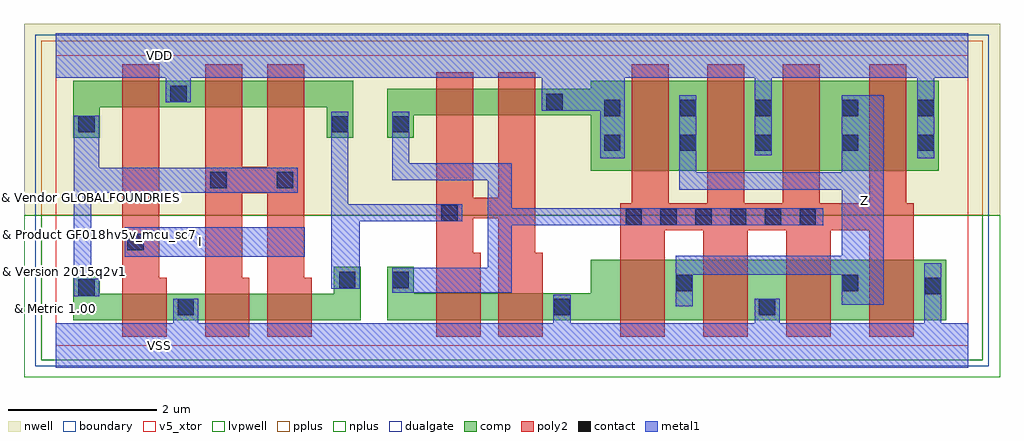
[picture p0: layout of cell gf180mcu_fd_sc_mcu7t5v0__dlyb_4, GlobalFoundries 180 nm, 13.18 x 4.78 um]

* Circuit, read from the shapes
.subckt gf180mcu_fd_sc_mcu7t5v0__dlyb_4 I VDD VSS Z
XM1 VSS I n1 VSUBS nfet_05v0 w=0.36u l=0.6u
XM2 n2 n1 VSS VSUBS nfet_05v0 w=0.36u l=0.6u
XM3 n3 n1 n2 VSUBS nfet_05v0 w=0.36u l=0.6u
XM4 n4 n3 n5 VSUBS nfet_05v0 w=0.365u l=0.6u
XM5 VSS n3 n4 VSUBS nfet_05v0 w=0.365u l=0.6u
XM6 Z n5 VSS VSUBS nfet_05v0 w=0.82u l=0.6u m=4
XM7 VDD I n1 n6 pfet_05v0 w=0.36u l=0.5u
XM8 n7 n1 VDD n6 pfet_05v0 w=0.36u l=0.5u
XM9 n3 n1 n7 n6 pfet_05v0 w=0.36u l=0.5u
XM10 n8 n3 n5 n6 pfet_05v0 w=0.36u l=0.5u
XM11 VDD n3 n8 n6 pfet_05v0 w=0.36u l=0.5u
XM12 Z n5 VDD n6 pfet_05v0 w=1.22u l=0.5u m=4
.ends

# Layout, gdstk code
import gdstk
lib = gdstk.Library(unit=1e-6, precision=1e-09)
def R(c, l, rs):  # rectangles x0, y0, x1, y1
    for r in rs: c.add(gdstk.rectangle(r[:2], r[2:], *l))
def A(c, l, x, y, w, h, nx, ny, dx, dy):  # array of equal rectangles
    R(c, l, [(x+i*dx, y+j*dy, x+i*dx+w, y+j*dy+h) for i in range(nx) for j in range(ny)])
def P(c, l, *ps):  # polygons
    for p in ps: c.add(gdstk.Polygon(p, *l))
boundary = (0, 0)
nwell = (21, 0)
comp = (22, 0)
poly2 = (30, 0)
pplus = (31, 0)
nplus = (32, 0)
contact = (33, 0)
metal1 = (34, 0)
dualgate = (55, 0)
v5_xtor = (112, 1)
lvpwell = (204, 0)

gf180mcu_fd_sc_mcu7t5v0_ = lib.new_cell('gf180mcu_fd_sc_mcu7t5v0__dlyb_4')
R(gf180mcu_fd_sc_mcu7t5v0_, boundary, [(0,0,12.32,3.92)])
R(gf180mcu_fd_sc_mcu7t5v0_, nwell, [(-0.43,1.76,12.75,4.35)])
P(gf180mcu_fd_sc_mcu7t5v0_, comp, [(0.235,2.81),(0.235,3.58),(4.015,3.58),(4.015,2.81),(3.655,2.81),(3.655,3.22),(0.595,3.22),(0.595,2.81)],
  [(0.235,0.34),(0.235,0.965),(0.595,0.965),(0.595,0.7),(3.755,0.7),(3.755,1.065),(4.115,1.065),(4.115,0.34)],
  [(7.225,2.36),(7.225,3.11),(4.835,3.11),(4.835,2.81),(4.475,2.81),(4.475,3.47),(7.225,3.47),(7.225,3.58),(11.925,3.58),(11.925,2.36)],
  [(4.475,0.34),(4.475,1.065),(4.835,1.065),(4.835,0.705),(7.225,0.705),(7.225,1.16),(12.025,1.16),(12.025,0.34)])
P(gf180mcu_fd_sc_mcu7t5v0_, poly2, [(0.895,0.12),(0.895,3.8),(1.395,3.8),(1.395,0.92),(1.495,0.92),(1.495,0.12)],
  [(2.015,0.12),(2.015,3.8),(2.515,3.8),(2.515,2.415),(2.855,2.415),(2.855,3.8),(3.355,3.8),(3.355,0.92),(3.455,0.92),(3.455,0.12),(2.855,0.12),(2.855,2.055),(2.515,2.055),(2.515,0.92),(2.615,0.92),(2.615,0.12)],
  [(5.135,0.12),(5.135,3.69),(5.635,3.69),(5.635,1.995),(5.975,1.995),(5.975,3.69),(6.475,3.69),(6.475,1.255),(6.575,1.255),(6.575,0.12),(5.975,0.12),(5.975,1.72),(5.635,1.72),(5.635,1.255),(5.735,1.255),(5.735,0.12)],
  [(7.625,0.12),(7.625,1.92),(7.775,1.92),(7.775,3.8),(8.275,3.8),(8.275,1.92),(8.795,1.92),(8.795,3.8),(9.295,3.8),(9.295,1.92),(9.815,1.92),(9.815,3.8),(10.315,3.8),(10.315,1.92),(10.985,1.92),(10.985,3.8),(11.485,3.8),(11.485,1.92),(11.585,1.92),(11.585,0.12),(10.985,0.12),(10.985,1.56),(10.465,1.56),(10.465,0.12),(9.865,0.12),(9.865,1.56),(9.345,1.56),(9.345,0.12),(8.745,0.12),(8.745,1.56),(8.225,1.56),(8.225,0.12)])
R(gf180mcu_fd_sc_mcu7t5v0_, pplus, [(-0.2,1.76,12.52,4.12)])
R(gf180mcu_fd_sc_mcu7t5v0_, nplus, [(-0.2,-0.2,12.52,1.76)])
A(gf180mcu_fd_sc_mcu7t5v0_, contact, 7.695, 1.63, 0.22, 0.22, 6, 1, 0.47, 0)
A(gf180mcu_fd_sc_mcu7t5v0_, contact, 7.405, 2.63, 0.22, 0.22, 3, 2, 1.02, 0.47)
R(gf180mcu_fd_sc_mcu7t5v0_, contact, [(1.645,0.41,1.865,0.63), (6.725,0.41,6.945,0.63), (9.495,0.41,9.715,0.63), (0.305,0.675,0.525,0.895), (11.735,0.695,11.955,0.915), (8.375,0.735,8.595,0.955), (10.615,0.735,10.835,0.955), (3.825,0.775,4.045,0.995), (4.545,0.775,4.765,0.995), (0.965,1.29,1.185,1.51), (5.205,1.685,5.425,1.905), (2.085,2.125,2.305,2.345), (2.985,2.125,3.205,2.345), (10.615,2.63,10.835,2.85), (11.635,2.63,11.855,2.85), (0.305,2.88,0.525,3.1), (3.725,2.88,3.945,3.1), (4.545,2.88,4.765,3.1), (10.615,3.1,10.835,3.32), (11.635,3.1,11.855,3.32), (6.625,3.18,6.845,3.4), (1.545,3.29,1.765,3.51)])
R(gf180mcu_fd_sc_mcu7t5v0_, metal1, [(0.93,1.2,3.36,1.6)])
P(gf180mcu_fd_sc_mcu7t5v0_, metal1, [(0.245,0.67),(0.245,3.105),(0.585,3.105),(0.585,2.405),(3.265,2.405),(3.265,2.065),(0.475,2.065),(0.475,0.9),(0.585,0.9),(0.585,0.67)],
  [(3.72,0.77),(3.72,3.16),(3.95,3.16),(3.95,1.91),(5.485,1.91),(5.485,1.68),(4.105,1.68),(4.105,0.77)],
  [(4.54,0.715),(4.54,1.055),(5.835,1.055),(5.835,2.235),(4.54,2.235),(4.54,3.16),(4.77,3.16),(4.77,2.465),(6.155,2.465),(6.155,1.855),(10.36,1.855),(10.36,1.625),(6.155,1.625),(6.155,0.715)],
  [(8.37,0.53),(8.37,1.215),(10.61,1.215),(10.61,2.105),(8.42,2.105),(8.42,3.38),(8.65,3.38),(8.65,2.34),(10.61,2.34),(10.61,3.38),(11.18,3.38),(11.18,0.55),(10.61,0.55),(10.61,0.96),(8.6,0.96),(8.6,0.53)],
  [(0,-0.3),(0,0.3),(1.585,0.3),(1.585,0.635),(1.925,0.635),(1.925,0.3),(6.72,0.3),(6.72,0.69),(6.95,0.69),(6.95,0.3),(9.435,0.3),(9.435,0.635),(9.775,0.635),(9.775,0.3),(11.73,0.3),(11.73,1.115),(11.96,1.115),(11.96,0.3),(12.32,0.3),(12.32,-0.3)],
  [(7.355,2.53),(7.355,3.175),(6.565,3.175),(6.565,3.62),(1.825,3.62),(1.825,3.285),(1.485,3.285),(1.485,3.62),(0,3.62),(0,4.22),(12.32,4.22),(12.32,3.62),(11.86,3.62),(11.86,2.53),(11.63,2.53),(11.63,3.62),(9.67,3.62),(9.67,2.57),(9.44,2.57),(9.44,3.62),(7.685,3.62),(7.685,2.53)])
R(gf180mcu_fd_sc_mcu7t5v0_, dualgate, [(-0.28,-0.28,12.6,4.2)])
R(gf180mcu_fd_sc_mcu7t5v0_, v5_xtor, [(0,0,12.32,3.92)])
R(gf180mcu_fd_sc_mcu7t5v0_, lvpwell, [(-0.43,-0.43,12.75,1.76)])
gf180mcu_fd_sc_mcu7t5v0_.add(gdstk.Label('VSS', (1.4,0), layer=34, texttype=10))
gf180mcu_fd_sc_mcu7t5v0_.add(gdstk.Label('Z', (10.92,1.96), layer=34, texttype=10))
gf180mcu_fd_sc_mcu7t5v0_.add(gdstk.Label('I', (1.96,1.4), layer=34, texttype=10))
gf180mcu_fd_sc_mcu7t5v0_.add(gdstk.Label('VDD', (1.4,3.92), layer=34, texttype=10))
gf180mcu_fd_sc_mcu7t5v0_.add(gdstk.Label('& Vendor GLOBALFOUNDRIES', (0,2), layer=63, texttype=63))
gf180mcu_fd_sc_mcu7t5v0_.add(gdstk.Label('& Product GF018hv5v_mcu_sc7', (0,1.5), layer=63, texttype=63))
gf180mcu_fd_sc_mcu7t5v0_.add(gdstk.Label('& Version 2015q2v1', (0,1), layer=63, texttype=63))
gf180mcu_fd_sc_mcu7t5v0_.add(gdstk.Label('& Metric 1.00', (0,0.5), layer=63, texttype=63))

lib.write_gds('gf180mcu_fd_sc_mcu7t5v0__dlyb_4.gds')
